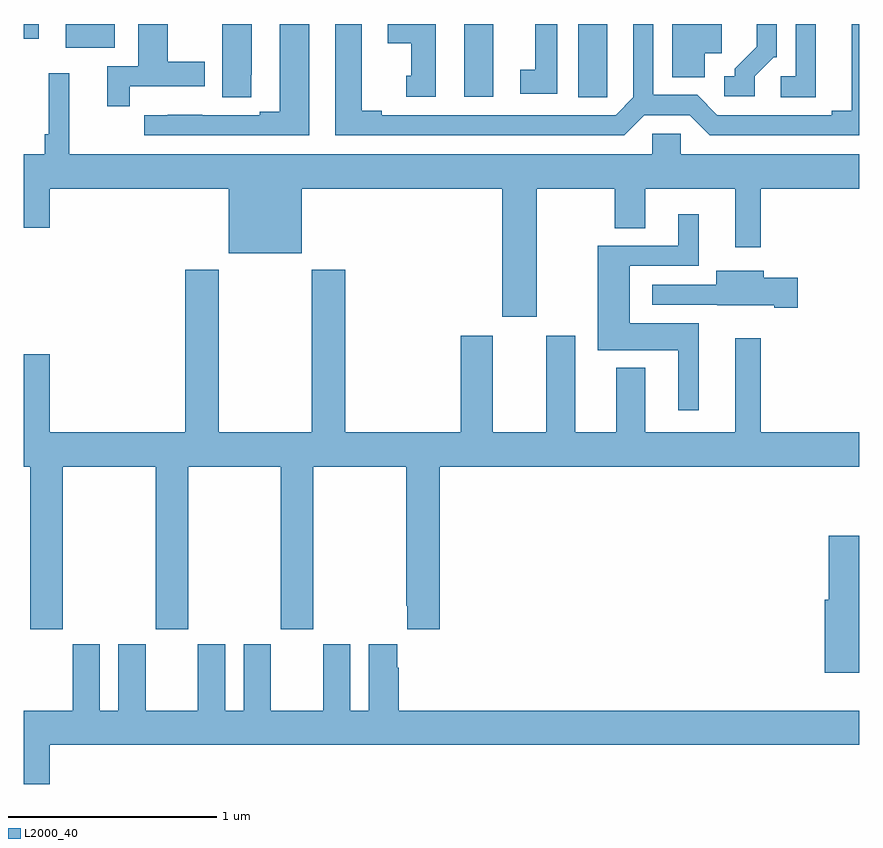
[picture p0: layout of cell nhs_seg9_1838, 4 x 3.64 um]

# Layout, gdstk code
import gdstk
lib = gdstk.Library(unit=1e-6, precision=1e-09)
def R(c, l, rs):  # rectangles x0, y0, x1, y1
    for r in rs: c.add(gdstk.rectangle(r[:2], r[2:], *l))
def P(c, l, *ps):  # polygons
    for p in ps: c.add(gdstk.Polygon(p, *l))
L2000_40 = (2000, 40)

nhs_seg9_1838 = lib.new_cell('nhs_seg9_1838')
R(nhs_seg9_1838, L2000_40, [(215.108,1238.151,215.248,1238.5), (213.2,1238.387,213.436,1238.5), (213,1238.43,213.07,1238.5)])
P(nhs_seg9_1838, L2000_40, [(215.793,1238.257),(215.794,1238.257),(215.794,1238.5),(215.654,1238.5),(215.654,1238.149),(215.793,1238.149)],
  [(214.972,1238.5),(214.742,1238.5),(214.742,1238.408),(214.856,1238.408),(214.856,1238.253),(214.832,1238.253),(214.832,1238.151),(214.972,1238.151)],
  [(214.366,1238.5),(214.226,1238.5),(214.226,1238.079),(214.13,1238.079),(214.13,1238.064),(213.854,1238.064),(213.854,1238.065),(213.688,1238.065),(213.688,1238.064),(213.576,1238.064),(213.576,1237.968),(214.366,1237.968)],
  [(215.971,1238.064),(216.189,1238.064),(216.285,1237.968),(217,1237.968),(217,1238.5),(216.965,1238.5),(216.965,1238.084),(216.869,1238.084),(216.869,1238.064),(216.321,1238.064),(216.225,1238.16),(216.015,1238.16),(216.015,1238.5),(215.919,1238.5),(215.919,1238.148),(215.835,1238.064),(214.714,1238.064),(214.714,1238.084),(214.618,1238.084),(214.618,1238.5),(214.49,1238.5),(214.49,1237.968),(215.875,1237.968)],
  [(215.554,1238.5),(215.45,1238.5),(215.45,1238.282),(215.376,1238.282),(215.376,1238.166),(215.554,1238.166)],
  [(216.501,1238.25),(216.591,1238.34),(216.606,1238.34),(216.606,1238.5),(216.509,1238.5),(216.509,1238.39),(216.404,1238.285),(216.404,1238.25),(216.354,1238.25),(216.354,1238.154),(216.501,1238.154)],
  [(213.506,1238.202),(213.865,1238.202),(213.865,1238.319),(213.688,1238.319),(213.688,1238.5),(213.548,1238.5),(213.548,1238.298),(213.398,1238.298),(213.398,1238.106),(213.506,1238.106)],
  [(216.262,1238.36),(216.343,1238.36),(216.343,1238.5),(216.104,1238.5),(216.104,1238.245),(216.262,1238.245)],
  [(216.793,1238.5),(216.696,1238.5),(216.696,1238.25),(216.624,1238.25),(216.624,1238.149),(216.793,1238.149)],
  [(214.089,1238.257),(214.09,1238.257),(214.09,1238.5),(213.95,1238.5),(213.95,1238.149),(214.089,1238.149)],
  [(215.455,1237.712),(215.83,1237.712),(215.83,1237.522),(215.977,1237.522),(215.977,1237.712),(216.407,1237.712),(216.407,1237.431),(216.529,1237.431),(216.529,1237.712),(217,1237.712),(217,1237.876),(216.147,1237.876),(216.147,1237.974),(216.009,1237.974),(216.009,1237.876),(213.218,1237.876),(213.218,1238.263),(213.12,1238.263),(213.12,1237.972),(213.1,1237.972),(213.1,1237.876),(213,1237.876),(213,1237.524),(213.124,1237.524),(213.124,1237.712),(213.98,1237.712),(213.98,1237.403),(214.33,1237.403),(214.33,1237.712),(215.291,1237.712),(215.291,1237.098),(215.455,1237.098)],
  [(216.232,1237.066),(215.902,1237.066),(215.902,1237.341),(216.232,1237.341),(216.232,1237.588),(216.134,1237.588),(216.134,1237.437),(215.749,1237.437),(215.749,1236.938),(216.134,1236.938),(216.134,1236.651),(216.232,1236.651)],
  [(213.186,1236.38),(213.631,1236.38),(213.631,1235.601),(213.786,1235.601),(213.786,1236.38),(214.231,1236.38),(214.231,1235.601),(214.386,1235.601),(214.386,1236.38),(214.831,1236.38),(214.831,1235.713),(214.835,1235.713),(214.835,1235.601),(214.991,1235.601),(214.991,1236.38),(217,1236.38),(217,1236.544),(216.529,1236.544),(216.529,1236.994),(216.407,1236.994),(216.407,1236.544),(215.977,1236.544),(215.977,1236.853),(215.837,1236.853),(215.837,1236.544),(215.641,1236.544),(215.641,1237.006),(215.501,1237.006),(215.501,1236.544),(215.245,1236.544),(215.245,1237.006),(215.093,1237.006),(215.093,1236.544),(214.538,1236.544),(214.538,1237.324),(214.378,1237.324),(214.378,1236.544),(213.933,1236.544),(213.933,1237.324),(213.773,1237.324),(213.773,1236.544),(213.124,1236.544),(213.124,1236.919),(213,1236.919),(213,1236.38),(213.031,1236.38),(213.031,1235.601),(213.186,1235.601)],
  [(216.706,1237.284),(216.544,1237.284),(216.544,1237.318),(216.317,1237.318),(216.317,1237.251),(216.009,1237.251),(216.009,1237.155),(216.321,1237.155),(216.321,1237.154),(216.593,1237.154),(216.593,1237.142),(216.706,1237.142)],
  [(217,1236.049),(216.854,1236.049),(216.854,1235.742),(216.836,1235.742),(216.836,1235.394),(217,1235.394)],
  [(213.124,1235.048),(217,1235.048),(217,1235.212),(214.796,1235.212),(214.796,1235.417),(214.789,1235.417),(214.789,1235.53),(214.652,1235.53),(214.652,1235.212),(214.564,1235.212),(214.564,1235.53),(214.433,1235.53),(214.433,1235.212),(214.183,1235.212),(214.183,1235.53),(214.052,1235.53),(214.052,1235.212),(213.964,1235.212),(213.964,1235.53),(213.833,1235.53),(213.833,1235.212),(213.583,1235.212),(213.583,1235.53),(213.452,1235.53),(213.452,1235.212),(213.364,1235.212),(213.364,1235.53),(213.233,1235.53),(213.233,1235.212),(213,1235.212),(213,1234.86),(213.124,1234.86)])

lib.write_gds('nhs_seg9_1838.gds')
